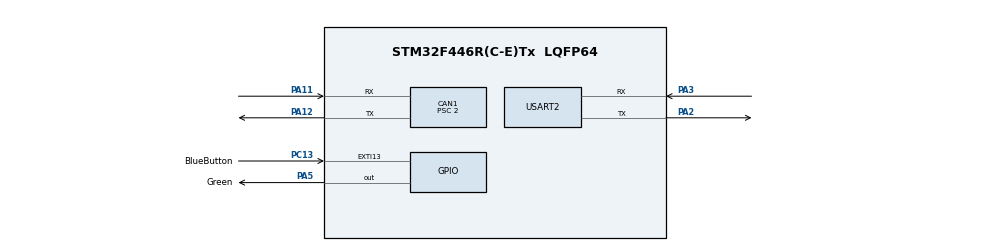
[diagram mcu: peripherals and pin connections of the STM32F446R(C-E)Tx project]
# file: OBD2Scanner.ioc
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CAN1.BS1=CAN_BS1_13TQ
CAN1.BS2=CAN_BS2_2TQ
CAN1.CalculateTimeQuantum=125.0
CAN1.Prescaler=2
Mcu.Family=STM32F4
Mcu.Name=STM32F446R(C-E)Tx
Mcu.Package=LQFP64
NVIC.CAN1_RX0_IRQn=true\:0\:0\:false\:false\:true\:true
NVIC.CAN1_RX1_IRQn=true\:0\:0\:false\:false\:true\:true
NVIC.CAN1_SCE_IRQn=true\:0\:0\:false\:false\:true\:true
NVIC.CAN1_TX_IRQn=true\:0\:0\:false\:false\:true\:true
NVIC.EXTI15_10_IRQn=true\:0\:0\:false\:false\:true\:true
NVIC.PriorityGroup=NVIC_PRIORITYGROUP_4
NVIC.USART2_IRQn=true\:0\:0\:false\:false\:true\:true
PA11.Mode=Master
PA11.Signal=CAN1_RX
PA12.Mode=Master
PA12.Signal=CAN1_TX
PA13.Mode=Serial_Wire
PA13.Signal=SYS_JTMS-SWDIO
PA14.Mode=Serial_Wire
PA14.Signal=SYS_JTCK-SWCLK
PA2.Mode=Asynchronous
PA2.Signal=USART2_TX
PA3.Mode=Asynchronous
PA3.Signal=USART2_RX
PA5.GPIO_Label=Green
PA5.Signal=GPIO_Output
PC13.GPIO_Label=BlueButton
PC13.Signal=GPXTI13
PC14-OSC32_IN.Mode=LSE-External-Oscillator
PC14-OSC32_IN.Signal=RCC_OSC32_IN
PC15-OSC32_OUT.Mode=LSE-External-Oscillator
PC15-OSC32_OUT.Signal=RCC_OSC32_OUT
PH0-OSC_IN.Mode=HSE-External-Oscillator
PH0-OSC_IN.Signal=RCC_OSC_IN
PH1-OSC_OUT.Mode=HSE-External-Oscillator
PH1-OSC_OUT.Signal=RCC_OSC_OUT
ProjectManager.HeapSize=0x200
ProjectManager.StackSize=0x400
ProjectManager.TargetToolchain=Makefile
RCC.CortexFreq_Value=16000000
RCC.USBFreq_Value=96000000
RCC.VCOOutputFreq_Value=192000000
USART2.VirtualMode=VM_ASYNC
board=custom

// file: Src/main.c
/* USER CODE BEGIN Header */
/**
  ******************************************************************************
  * @file           : main.c
  * @brief          : Main program body
  ******************************************************************************
  ** This notice applies to any and all portions of this file
  * that are not between comment pairs USER CODE BEGIN and
  * USER CODE END. Other portions of this file, whether
  * inserted by the user or by software development tools
  * are owned by their respective copyright owners.
  *
  * COPYRIGHT(c) 2019 STMicroelectronics
  *
  * Redistribution and use in source and binary forms, with or without modification,
  * are permitted provided that the following conditions are met:
  *   1. Redistributions of source code must retain the above copyright notice,
  *      this list of conditions and the following disclaimer.
  *   2. Redistributions in binary form must reproduce the above copyright notice,
  *      this list of conditions and the following disclaimer in the documentation
  *      and/or other materials provided with the distribution.
  *   3. Neither the name of STMicroelectronics nor the names of its contributors
  *      may be used to endorse or promote products derived from this software
  *      without specific prior written permission.
  *
  * THIS SOFTWARE IS PROVIDED BY THE COPYRIGHT HOLDERS AND CONTRIBUTORS "AS IS"
  * AND ANY EXPRESS OR IMPLIED WARRANTIES, INCLUDING, BUT NOT LIMITED TO, THE
  * IMPLIED WARRANTIES OF MERCHANTABILITY AND FITNESS FOR A PARTICULAR PURPOSE ARE
  * DISCLAIMED. IN NO EVENT SHALL THE COPYRIGHT HOLDER OR CONTRIBUTORS BE LIABLE
  * FOR ANY DIRECT, INDIRECT, INCIDENTAL, SPECIAL, EXEMPLARY, OR CONSEQUENTIAL
  * DAMAGES (INCLUDING, BUT NOT LIMITED TO, PROCUREMENT OF SUBSTITUTE GOODS OR
  * SERVICES; LOSS OF USE, DATA, OR PROFITS; OR BUSINESS INTERRUPTION) HOWEVER
  * CAUSED AND ON ANY THEORY OF LIABILITY, WHETHER IN CONTRACT, STRICT LIABILITY,
  * OR TORT (INCLUDING NEGLIGENCE OR OTHERWISE) ARISING IN ANY WAY OUT OF THE USE
  * OF THIS SOFTWARE, EVEN IF ADVISED OF THE POSSIBILITY OF SUCH DAMAGE.
  *
  ******************************************************************************
  */
/* USER CODE END Header */

#include "main.h"
#include "can.h"
#include "usart.h"
#include "gpio.h"

/* USER CODE BEGIN Includes */
#include "obd2.h"
/* USER CODE END Includes */

void SystemClock_Config(void);

/* USER CODE BEGIN 0 */
#ifdef __GNUC__
  /* With GCC/RAISONANCE, small printf (option LD Linker->Libraries->Small printf
     set to 'Yes') calls __io_putchar() */
  #define PUTCHAR_PROTOTYPE int __io_putchar(int ch)
#else
  #define PUTCHAR_PROTOTYPE int fputc(int ch, FILE *f)
#endif /* __GNUC__ */
/**
  * @brief  Retargets the C library printf function to the USART.
  * @param  None
  * @retval None
  */
PUTCHAR_PROTOTYPE
{
  /* Place your implementation of fputc here */
  /* e.g. write a character to the EVAL_COM1 and Loop until the end of transmission */
  HAL_UART_Transmit(&huart2, (uint8_t *)&ch, 1, 0xFFFF);

  return ch;
}

/* USER CODE END 0 */

int main(void)
{
  /* USER CODE BEGIN 1 */
  CAN_TxHeaderTypeDef   tx_header;
  uint8_t               tx_data[TX_DATA_LENGTH];
  uint32_t              tx_mailbox;
  uint32_t              freelevel;

  /* USER CODE END 1 */

  /* MCU Configuration--------------------------------------------------------*/

  /* Reset of all peripherals, Initializes the Flash interface and the Systick. */
  HAL_Init();

  /* Configure the system clock */
  SystemClock_Config();

  /* Initialize all configured peripherals */
  MX_GPIO_Init();
  MX_CAN1_Init();
  MX_USART2_UART_Init();
  /* USER CODE BEGIN 2 */
  CAN_Config();

  printf("Hello World\r\n");
  HAL_UART_Receive_IT(&huart2, rx_data, 1);
  HAL_CAN_ActivateNotification(&hcan1, CAN_IT_RX_FIFO0_MSG_PENDING);

  tx_header.StdId = SCANNER_STDID;
  tx_header.ExtId = 0x00;
  tx_header.RTR = CAN_RTR_DATA;
  tx_header.IDE = CAN_ID_STD;
  tx_header.DLC = TX_DATA_LENGTH;
  tx_header.TransmitGlobalTime = DISABLE;
  /* USER CODE END 2 */

  /* Infinite loop */
  while (1)
  {

    /* USER CODE BEGIN 3 */
    if (rx_complete) {
      HAL_GPIO_TogglePin(Green_GPIO_Port, Green_Pin);

      printf("Got this <%s>\r\n", rx_buf);

      if (!OBD2_Parse(rx_buf, &tx_data)) {
        freelevel = HAL_CAN_GetTxMailboxesFreeLevel(&hcan1);
        if (freelevel) {
          HAL_CAN_AddTxMessage(&hcan1, &tx_header, tx_data, &tx_mailbox);
          printf("Sent a message\r\n");
        } else {
          printf("No free mailboxes\r\n");
        }
      }

      // Reset transfer complete flag
      rx_complete = 0;
    }
  }
  /* USER CODE END 3 */
}

void SystemClock_Config(void)
{
  RCC_OscInitTypeDef RCC_OscInitStruct = {0};
  RCC_ClkInitTypeDef RCC_ClkInitStruct = {0};

  /**Configure the main internal regulator output voltage
  */
  __HAL_RCC_PWR_CLK_ENABLE();
  __HAL_PWR_VOLTAGESCALING_CONFIG(PWR_REGULATOR_VOLTAGE_SCALE3);
  /**Initializes the CPU, AHB and APB busses clocks
  */
  RCC_OscInitStruct.OscillatorType = RCC_OSCILLATORTYPE_HSI;
  RCC_OscInitStruct.HSIState = RCC_HSI_ON;
  RCC_OscInitStruct.HSICalibrationValue = RCC_HSICALIBRATION_DEFAULT;
  RCC_OscInitStruct.PLL.PLLState = RCC_PLL_NONE;
  if (HAL_RCC_OscConfig(&RCC_OscInitStruct) != HAL_OK)
  {
    Error_Handler();
  }
  /**Initializes the CPU, AHB and APB busses clocks
  */
  RCC_ClkInitStruct.ClockType = RCC_CLOCKTYPE_HCLK|RCC_CLOCKTYPE_SYSCLK
                              |RCC_CLOCKTYPE_PCLK1|RCC_CLOCKTYPE_PCLK2;
  RCC_ClkInitStruct.SYSCLKSource = RCC_SYSCLKSOURCE_HSI;
  RCC_ClkInitStruct.AHBCLKDivider = RCC_SYSCLK_DIV1;
  RCC_ClkInitStruct.APB1CLKDivider = RCC_HCLK_DIV1;
  RCC_ClkInitStruct.APB2CLKDivider = RCC_HCLK_DIV1;

  if (HAL_RCC_ClockConfig(&RCC_ClkInitStruct, FLASH_LATENCY_0) != HAL_OK)
  {
    Error_Handler();
  }
}

/* USER CODE BEGIN 4 */
void _Error_Handler(char *file, int line)
{
  while(1)
  {
  }
}
/* USER CODE END 4 */

void Error_Handler(void)
{
}

/************************ (C) COPYRIGHT STMicroelectronics *****END OF FILE****/
